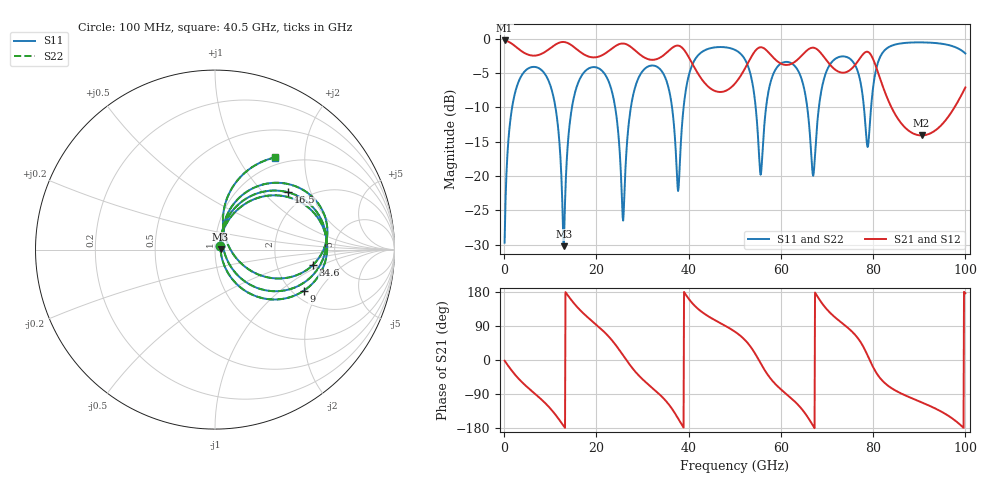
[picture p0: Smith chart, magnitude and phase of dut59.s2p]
! Touchstone file exported from HFSS 2026.1.0
!  File:  C:/ffzhzh/LocalFiles/Ansys_Project_Files/temp_train_TSV_RDL_59_1783623459_33328.aedt
!  Generated:  03:21:01 AM Jul 10, 2026
!  Design:  TSV_RDL
!  Project:  temp_train_TSV_RDL_59_1783623459_33328
! Variables:
!  h_bsmrdl = 3.03um
!  h_ox = 20um
!  h_rdl = 5um
!  h_sub = 82.76um
!  h_tmrdl = 4.65um
!  h_tsv = 82.76um
!  h_via = 3um
!  l_bsmrdl = 527.92um
!  l_sub = 4461.36um
!  l_tmrdl = 594.95um
!  m_sub = 200um
!  pitch = 53.38um
!  r_tsv = 8.55um
!  s_tmrdl = 10um
!  w_bsmrdl = 20.78um
!  w_sub = 500um
!  w_tmrdl = 11.82um
!  x_tsv_center1 = 600.86um
!  x_tsv_center2 = 1149.56um
!  x_tsv_center3 = 1756.33um
!  x_tsv_center4 = 2305.03um
!  x_tsv_center5 = 2911.8um
!  x_tsv_center6 = 3460.5um
# GHz S MA R 50.000000
! Terminal data exported
! Port[1] = TM_RDL1_1_T1
! Port[2] = TM_RDL5_1_T1
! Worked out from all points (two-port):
!   1000 points, 100 MHz to 100 GHz, reference 50 ohm
!   highest |S21| = -0.22 dB at 100 MHz (marker M1); lowest = -14.1 dB at 90.5 GHz (marker M2)
!   |S21| within 3 dB of the highest: start of sweep to 40.49 GHz; 63.26 GHz to 70 GHz (6.741 GHz wide, 10.1 % of centre) (the widest 2 of 4)
!   lowest |S11| = -30.2 dB at 12.9 GHz (marker M3), VSWR 1.06, Z = 53.2 + j0.174 ohm
!   |S11| at or under -10 dB: 11.13 GHz to 14.7 GHz (3.567 GHz wide, 27.6 % of centre); 24.07 GHz to 27.47 GHz (3.395 GHz wide, 13.2 % of centre); 36.4 GHz to 38.9 GHz (2.5 GHz wide, 6.64 % of centre) (the widest 3 of 7)
!   |S22| runs from -30.3 to -0.5 dB; largest |S21 - S12| = 3.9e-14
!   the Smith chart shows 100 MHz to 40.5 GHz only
!   S11 on the Smith chart (normalised r, x): 100 MHz: 1.05, +0.04; 9 GHz: 2.27, -1.49; 16.5 GHz: 1.62, +1.41; 34.6 GHz: 3.24, -0.80; 40.5 GHz: 0.88, +1.45
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0.1  0.03261 37.9  0.9747 -1.8  0.9747 -1.8  0.03261 37.9
! Gamma 0 0 0 0
! Port Impedance 50 0 50 0
2.6  0.433 44.2  0.8731 -42.1  0.8731 -42.1  0.433 44.2
9  0.5444 -25.0  0.8095 -114.9  0.8095 -114.9  0.5444 -25.0
12.9  0.03075 3.0  0.9503 -174.0  0.9503 -174.0  0.03068 3.1
16.5  0.5178 38.0  0.8034 131.2  0.8034 131.2  0.5178 38.0
16.8  0.5396 34.6  0.7903 127.6  0.7903 127.6  0.5395 34.7
22.8  0.476 -27.4  0.8229 60.1  0.8229 60.1  0.4759 -27.4
26  0.06413 50.2  0.9245 8.6  0.9245 8.6  0.06417 50.3
28.3  0.4323 55.4  0.8292 -28.8  0.8292 -28.8  0.4324 55.4
33.4  0.6187 3.3  0.7191 -87.4  0.7191 -87.4  0.6187 3.3
34.6  0.5514 -9.0  0.762 -101.7  0.762 -101.7  0.5514 -9.0
37.7  0.07766 19.6  0.894 -154.0  0.894 -154.0  0.0774 19.6
40.5  0.6118 57.0  0.6886 154.0  0.6886 154.0  0.6117 57.0
50.1  0.8302 -13.9  0.4749 74.2  0.4749 74.2  0.8302 -13.9
55.7  0.105 3.9  0.8693 -10.5  0.8693 -10.5  0.1046 4.0
61.1  0.68 0.3  0.6461 -89.0  0.6461 -89.0  0.6801 0.4
66.7  0.1249 -26.0  0.862 -167.8  0.862 -167.8  0.1263 -25.6
72.5  0.7365 13.0  0.5767 104.8  0.5767 104.8  0.7366 12.9
78.8  0.1627 7.6  0.8055 12.0  0.8055 12.0  0.1601 7.5
83.4  0.8724 14.6  0.3484 -69.4  0.3484 -69.4  0.8723 14.6
90.5  0.9437 -21.9  0.1976 -111.7  0.1976 -111.7  0.9437 -21.9
100  0.784 -87.2  0.4428 176.3  0.4428 176.3  0.7842 -87.2
